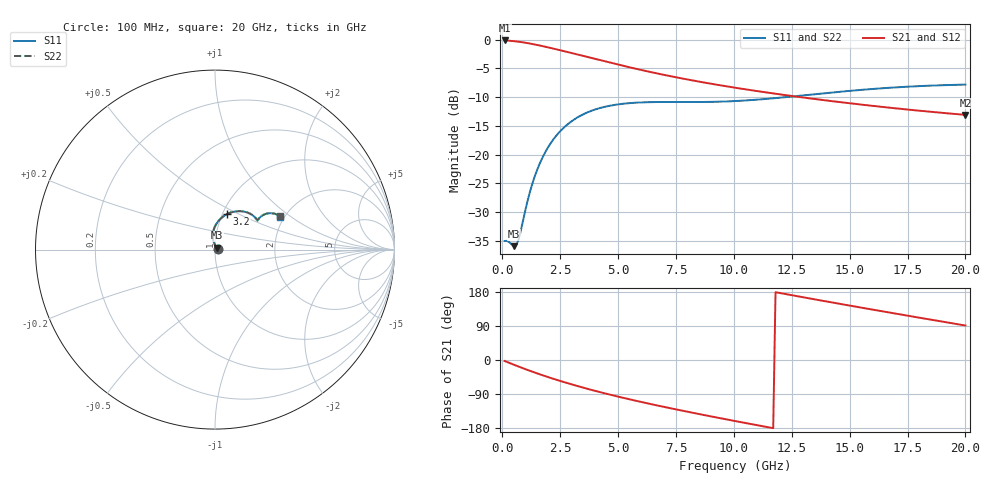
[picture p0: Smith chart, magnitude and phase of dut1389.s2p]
! Touchstone file exported from HFSS 2024.1.0
!  File:  C:/UserFiles/LocalFiles/RDL_TSV_Batchsim/temp_RDL_TSV_1389_1780403339.aedt
!  Generated:  08:47:50 PM Jun  2, 2026
!  Design:  RDL_TSV
!  Project:  temp_RDL_TSV_1389_1780403339
!  Setup:  Setup1
!  Solution:  Sweep
! Variables:
!  dtsv = 13.34um
!  hbump = 3um
!  htsv = 86.78um
!  ldown = 367.04um
!  lrdl = 668.41um
!  p = 40
!  p1 = 59.56um
!  rhole = 10um
!  subl = 3774.76um
!  t = 450um
!  tdown = 4.26um
!  trdl = 3.9um
!  viad = 10um
!  wdown = 16.5um
!  wrdl = 20.43um
!  xbump = 18um
# GHz S MA R 50.000000
! Terminal data exported
! Port[1] = TM1_1_T1
! Port[2] = TM1_4_T1
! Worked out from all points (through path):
!   200 points, 100 MHz to 20 GHz, reference 50 ohm
!   highest |S21| = -0.16 dB at 100 MHz (marker M1); lowest = -13.1 dB at 20 GHz (marker M2)
!   group delay of S21, straight-line fit = 35 ps
!   lowest |S11| = -35.9 dB at 500 MHz (marker M3), VSWR 1.03, Z = 51.2 + j1.05 ohm
!   |S11| at or under -10 dB: start of sweep to 12.29 GHz
!   |S22| runs from -35.9 to -7.8 dB; largest |S21 - S12| = 1.6e-14
!   S11 on the Smith chart (normalised r, x): 100 MHz: 1.04, +0.00; 3.2 GHz: 1.05, +0.43; 20 GHz: 1.89, +0.83
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0.1  0.01772 7.2  0.9816 -2.5  0.9816 -2.5  0.01772 7.2
! Gamma 0 0 0 0
! Port Impedance 50 0 50 0
0.5  0.01597 40.1  0.9684 -12.4  0.9684 -12.4  0.01597 40.1
0.6  0.01627 54.9  0.9634 -14.8  0.9634 -14.8  0.01627 55.0
0.7  0.01815 70.1  0.9578 -17.2  0.9578 -17.2  0.01816 70.1
1.2  0.04783 100.5  0.9225 -28.7  0.9225 -28.7  0.04789 100.5
1.4  0.06443 100.5  0.906 -33.1  0.906 -33.1  0.06451 100.6
1.7  0.09091 97.3  0.8798 -39.4  0.8798 -39.4  0.09102 97.3
2  0.1176 92.4  0.8528 -45.6  0.8528 -45.6  0.1177 92.4
2.4  0.1514 85.2  0.8163 -53.4  0.8163 -53.4  0.1516 85.2
3.2  0.2076 71.6  0.7449 -67.9  0.7449 -67.9  0.2078 71.6
3.5  0.2241 67.0  0.7193 -73.1  0.7193 -73.1  0.2243 67.1
4.3  0.2563 56.6  0.6555 -86.1  0.6555 -86.1  0.2567 56.6
5.1  0.2747 48.5  0.5987 -98.1  0.5987 -98.1  0.2751 48.6
5.9  0.2834 42.6  0.5492 -109.4  0.5492 -109.4  0.2838 42.6
6.8  0.2863 38.1  0.5016 -121.4  0.5016 -121.4  0.2867 38.1
8.3  0.2861 34.7  0.4377 -140.2  0.4377 -140.2  0.2865 34.7
10.1  0.2921 34.7  0.3798 -161.6  0.3798 -161.6  0.2925 34.7
11.6  0.3069 35.6  0.3422 -178.8  0.3422 -178.8  0.3074 35.6
13.4  0.3331 35.6  0.3057 161.1  0.3057 161.1  0.3335 35.6
15  0.3579 34.3  0.2792 143.6  0.2792 143.6  0.3583 34.3
16.7  0.3805 32.0  0.2558 125.4  0.2558 125.4  0.381 32.1
20  0.4057 27.0  0.2214 91.0  0.2214 91.0  0.4064 27.0
